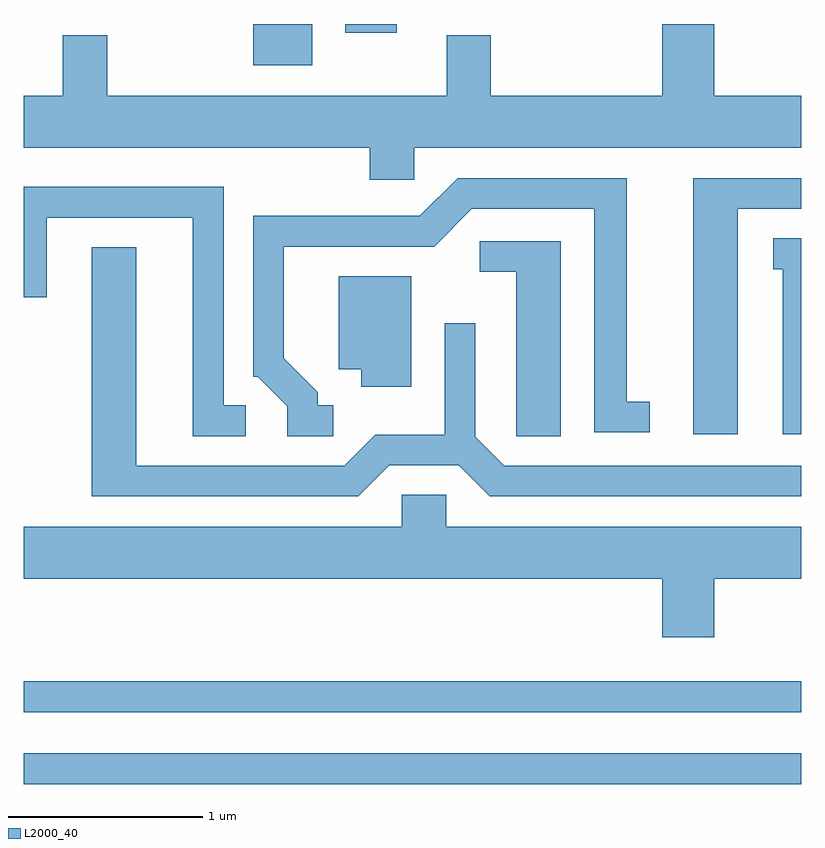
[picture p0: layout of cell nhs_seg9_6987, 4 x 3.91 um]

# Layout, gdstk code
import gdstk
lib = gdstk.Library(unit=1e-6, precision=1e-09)
def R(c, l, rs):  # rectangles x0, y0, x1, y1
    for r in rs: c.add(gdstk.rectangle(r[:2], r[2:], *l))
def P(c, l, *ps):  # polygons
    for p in ps: c.add(gdstk.Polygon(p, *l))
L2000_40 = (2000, 40)

nhs_seg9_6987 = lib.new_cell('nhs_seg9_6987')
R(nhs_seg9_6987, L2000_40, [(391.611,2008.521,395.611,2008.679), (391.611,2008.891,395.611,2009.049), (392.791,2012.221,393.094,2012.432), (393.266,2012.386,393.529,2012.432)])
P(nhs_seg9_6987, L2000_40, [(393.619,2011.796),(395.611,2011.796),(395.611,2012.064),(395.164,2012.064),(395.164,2012.432),(394.896,2012.432),(394.896,2012.064),(394.014,2012.064),(394.014,2012.374),(393.786,2012.374),(393.786,2012.064),(392.039,2012.064),(392.039,2012.374),(391.811,2012.374),(391.811,2012.064),(391.611,2012.064),(391.611,2011.796),(393.391,2011.796),(393.391,2011.631),(393.619,2011.631)],
  [(393.203,2010.469),(393.124,2010.469),(393.124,2010.537),(392.949,2010.712),(392.949,2011.286),(393.722,2011.286),(393.917,2011.481),(394.546,2011.481),(394.546,2010.331),(394.833,2010.331),(394.833,2010.489),(394.714,2010.489),(394.714,2011.639),(393.844,2011.639),(393.649,2011.444),(392.791,2011.444),(392.791,2010.616),(392.814,2010.616),(392.966,2010.464),(392.966,2010.311),(393.203,2010.311)],
  [(395.284,2011.481),(395.611,2011.481),(395.611,2011.639),(395.056,2011.639),(395.056,2010.321),(395.284,2010.321)],
  [(392.753,2010.469),(392.639,2010.469),(392.639,2011.594),(391.611,2011.594),(391.611,2011.026),(391.729,2011.026),(391.729,2011.436),(392.481,2011.436),(392.481,2010.311),(392.753,2010.311)],
  [(395.611,2011.329),(395.468,2011.329),(395.468,2011.171),(395.516,2011.171),(395.516,2010.321),(395.611,2010.321)],
  [(394.374,2011.314),(393.958,2011.314),(393.958,2011.156),(394.146,2011.156),(394.146,2010.311),(394.374,2010.311)],
  [(393.492,2010.161),(393.849,2010.161),(394.009,2010.001),(395.611,2010.001),(395.611,2010.159),(394.082,2010.159),(393.934,2010.307),(393.934,2010.893),(393.776,2010.893),(393.776,2010.319),(393.419,2010.319),(393.259,2010.159),(392.189,2010.159),(392.189,2011.284),(391.961,2011.284),(391.961,2010.001),(393.332,2010.001)],
  [(393.604,2011.134),(393.231,2011.134),(393.231,2010.656),(393.346,2010.656),(393.346,2010.566),(393.604,2010.566)],
  [(395.164,2009.576),(395.611,2009.576),(395.611,2009.844),(393.784,2009.844),(393.784,2010.009),(393.556,2010.009),(393.556,2009.844),(391.611,2009.844),(391.611,2009.576),(394.896,2009.576),(394.896,2009.276),(395.164,2009.276)])

lib.write_gds('nhs_seg9_6987.gds')
